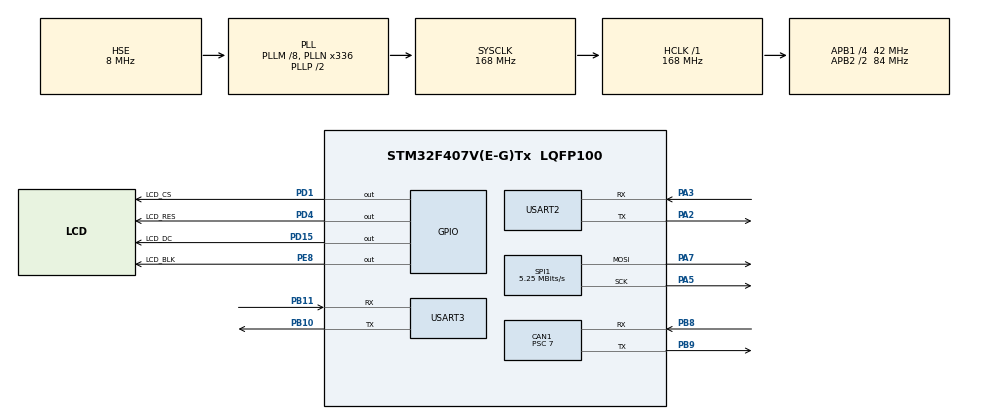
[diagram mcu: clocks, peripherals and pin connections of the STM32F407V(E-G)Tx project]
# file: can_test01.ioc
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CAN1.BS1=CAN_BS1_9TQ
CAN1.BS2=CAN_BS2_2TQ
CAN1.CalculateBaudRate=499999
CAN1.CalculateTimeBit=2000
CAN1.CalculateTimeQuantum=166.66666666666669
CAN1.Prescaler=7
Mcu.Family=STM32F4
Mcu.Name=STM32F407V(E-G)Tx
Mcu.Package=LQFP100
NVIC.CAN1_RX0_IRQn=true\:0\:0\:false\:false\:true\:true\:true\:true
NVIC.PriorityGroup=NVIC_PRIORITYGROUP_4
NVIC.USART3_IRQn=true\:0\:0\:false\:false\:true\:true\:true\:true
PA13.Mode=Serial_Wire
PA13.Signal=SYS_JTMS-SWDIO
PA14.Mode=Serial_Wire
PA14.Signal=SYS_JTCK-SWCLK
PA2.Mode=Asynchronous
PA2.Signal=USART2_TX
PA3.Mode=Asynchronous
PA3.Signal=USART2_RX
PA5.Mode=TX_Only_Simplex_Unidirect_Master
PA5.Signal=SPI1_SCK
PA7.Mode=TX_Only_Simplex_Unidirect_Master
PA7.Signal=SPI1_MOSI
PB10.Mode=Asynchronous
PB10.Signal=USART3_TX
PB11.Mode=Asynchronous
PB11.Signal=USART3_RX
PB8.Mode=CAN_Activate
PB8.Signal=CAN1_RX
PB9.Mode=CAN_Activate
PB9.Signal=CAN1_TX
PD1.GPIO_Label=LCD_CS
PD1.GPIO_ModeDefaultOutputPP=GPIO_MODE_OUTPUT_PP
PD1.GPIO_PuPd=GPIO_NOPULL
PD1.GPIO_Speed=GPIO_SPEED_FREQ_LOW
PD1.PinState=GPIO_PIN_SET
PD1.Signal=GPIO_Output
PD15.GPIO_Label=LCD_DC
PD15.GPIO_ModeDefaultOutputPP=GPIO_MODE_OUTPUT_PP
PD15.GPIO_PuPd=GPIO_NOPULL
PD15.GPIO_Speed=GPIO_SPEED_FREQ_LOW
PD15.PinState=GPIO_PIN_SET
PD15.Signal=GPIO_Output
PD4.GPIO_Label=LCD_RES
PD4.GPIO_ModeDefaultOutputPP=GPIO_MODE_OUTPUT_PP
PD4.GPIO_PuPd=GPIO_NOPULL
PD4.GPIO_Speed=GPIO_SPEED_FREQ_LOW
PD4.PinState=GPIO_PIN_SET
PD4.Signal=GPIO_Output
PE8.GPIO_Label=LCD_BLK
PE8.GPIO_ModeDefaultOutputPP=GPIO_MODE_OUTPUT_PP
PE8.GPIO_PuPd=GPIO_NOPULL
PE8.GPIO_Speed=GPIO_SPEED_FREQ_LOW
PE8.PinState=GPIO_PIN_RESET
PE8.Signal=GPIO_Output
PH0-OSC_IN.Mode=HSE-External-Oscillator
PH0-OSC_IN.Signal=RCC_OSC_IN
PH1-OSC_OUT.Mode=HSE-External-Oscillator
PH1-OSC_OUT.Signal=RCC_OSC_OUT
ProjectManager.HeapSize=0x200
ProjectManager.StackSize=0x400
ProjectManager.TargetToolchain=MDK-ARM V5.32
RCC.48MHZClocksFreq_Value=84000000
RCC.AHBFreq_Value=168000000
RCC.APB1CLKDivider=RCC_HCLK_DIV4
RCC.APB1Freq_Value=42000000
RCC.APB1TimFreq_Value=84000000
RCC.APB2CLKDivider=RCC_HCLK_DIV2
RCC.APB2Freq_Value=84000000
RCC.APB2TimFreq_Value=168000000
RCC.CortexFreq_Value=168000000
RCC.HCLKFreq_Value=168000000
RCC.HSE_VALUE=8000000
RCC.HSI_VALUE=16000000
RCC.LSE_VALUE=32768
RCC.PLLM=8
RCC.PLLN=336
RCC.PLLSourceVirtual=RCC_PLLSOURCE_HSE
RCC.SYSCLKFreq_VALUE=168000000
RCC.SYSCLKSource=RCC_SYSCLKSOURCE_PLLCLK
RCC.VCOOutputFreq_Value=336000000
SPI1.BaudRatePrescaler=SPI_BAUDRATEPRESCALER_16
SPI1.CLKPhase=SPI_PHASE_2EDGE
SPI1.CLKPolarity=SPI_POLARITY_HIGH
SPI1.CalculateBaudRate=5.25 MBits/s
SPI1.Direction=SPI_DIRECTION_2LINES
SPI1.Mode=SPI_MODE_MASTER
SPI1.VirtualType=VM_MASTER
USART2.VirtualMode=VM_ASYNC
USART3.VirtualMode=VM_ASYNC
board=custom

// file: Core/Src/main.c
/* USER CODE BEGIN Header */
/**
  ******************************************************************************
  * @file           : main.c
  * @project        : STM32F407VET6 汽车数字仪表 APP2 (黑猫警长主题 LVGL 8 座舱系统)
  * @brief          : APP2 向量表重映射、CAN 0x0B3 远程升级响应与 50FPS 座舱动画调度
  *
  * ================================================================
  * 【文件结构与核心机制】：
  *   1. 启动重映射 (0x08010000)：
  *      - 配合 Keil IROM1 起始地址 0x08010000 (大小 0x70000 = 448KB)
  *      - 入口第一句执行 SCB->VTOR = 0x08010000 并调用 __set_PRIMASK(0U) 重新开启总中断
  *   2. 双向 CAN OTA 升级闭环：
  *      - 实时监听 CAN ID 0x0B3 (BE AD BE EF 01 AA AA AA)
  *      - 收到后将 Sector 3 (0x0800C000) 的 ota_flag 置 1，立即调用 HAL_NVIC_SystemReset()
  *      - 重启进入 Bootloader 后即可无缝刷回 APP1 (APP_Car.bin) 或更新版本
  *   3. 车载数据联动与离线巡航演示：
  *      - 在线模式：收到 0x0B4 (0xAF 0x01 RPM Speed) 实时驱动黑猫警长仪表车速与转速
  *      - 离线模式：超过 1.2s 未收到 CAN 报文时自动切入三角波平滑演示动效
  * ================================================================
  ******************************************************************************
  */
/* USER CODE END Header */
#include "main.h"
#include "can.h"
#include "spi.h"
#include "usart.h"
#include "gpio.h"

/* USER CODE BEGIN Includes */
#include "headfile.h"
#include "inter_flashif.h"
#include "inter_flash_cfg.h"
#include "bsp_touch.h"
#include "bsp_lv_port_disp.h"
#include "bsp_lv_port_indev.h"
#include "blackcat_lvgl_ui.h"
#include <stdio.h>
#include <string.h>
/* USER CODE END Includes */

void SystemClock_Config(void);

int main(void)
{
  /* USER CODE BEGIN 1 */
  // ⚠️ 极其关键的手术：Bootloader 跳转前关闭了总中断 (__disable_irq)，
  //    因此 APP 入口必须第一时间重设中断向量表偏移 VTOR = 0x08010000 并开启总中断！
  SCB->VTOR = INTER_FLASH_APP_ADDR;
  __set_PRIMASK(0U);
  /* USER CODE END 1 */

  /* MCU Configuration--------------------------------------------------------*/

  /* Reset of all peripherals, Initializes the Flash interface and the Systick. */
  HAL_Init();

  /* Configure the system clock */
  SystemClock_Config();

  /* USER CODE BEGIN SysInit */
  __set_PRIMASK(0U);

  uint32_t rx_id = 0;
  uint32_t rx_len = 0;
  uint8_t rx_data[8] = {0};
  BlackCat_VehicleState v_state = {0};
  /* USER CODE END SysInit */

  /* Initialize all configured peripherals */
  MX_GPIO_Init();
  MX_CAN1_Init();
  MX_USART2_UART_Init();
  MX_SPI1_Init();
  MX_USART3_UART_Init();

  /* USER CODE BEGIN 2 */
  // ================================================================
  // 系统外设与 LVGL 黑猫警长座舱初始化流水线
  // ================================================================

  // ------- 1. 硬件屏幕 (ST7796 SPI1) 与底层接口初始化 -------
  LCD_Init();
  Touch_Init();

  // ------- 2. LVGL 8 图形系统与黑猫警长仪表盘页面初始化 -------
  lv_init();
  lv_port_disp_init();
  lv_port_indev_init();
  BlackCat_LVGL_Init();

  // ------- 3. 启动 CAN1 硬件滤波器与接收中断 -------
  can_filter_init();

  // ------- 4. 开启 USART3 备用升级命令监听 -------
  uart_receive_enable();

  printf("\r\n============================================================\r\n");
  printf("       F407 APP2: BLACK CAT DETECTIVE LVGL 8 COCKPIT        \r\n");
  printf("============================================================\r\n");
  printf("Firmware Version : V2.2.0 (Black Cat LVGL Edition)\r\n");
  printf("Vector Table     : 0x%08lX\r\n", (unsigned long)SCB->VTOR);
  printf("LVGL Version     : %d.%d.%d\r\n", LVGL_VERSION_MAJOR, LVGL_VERSION_MINOR, LVGL_VERSION_PATCH);
  printf("USART3 OTA Listen: AF LEN DATA... FA\r\n");
  printf("------------------------------------------------------------\r\n");

  if (inter_flash_cfg_init() != 0U)
  {
      printf("APP2: info.bin not found at 0x%08lX (using defaults)\r\n",
             (unsigned long)INTER_FLASH_PARAM_ADDR);
  }
  /* USER CODE END 2 */

  /* Infinite loop */
  /* USER CODE BEGIN WHILE */
  uint32_t rx_count = 0;
  uint32_t last_can_tick = 0U;
  uint32_t last_ui_tick = HAL_GetTick();
  uint32_t last_lvgl_tick = HAL_GetTick();

  while (1)
  {
      uint32_t now = HAL_GetTick();

      // ================================================================
      // 任务 1：CAN 报文非阻塞接收与协议分流 (0x0B3 升级唤醒 / 0x0B4 仪表数据)
      // ================================================================
      if (can_get_message(&rx_id, &rx_len, rx_data) == 0U)
      {
          // ---- ① 检测 CAN 0x0B3 远程 OTA 升级指令 (BE AD BE EF 01 AA AA AA) ----
          if ((rx_id == 0x0B3U) && (rx_len == 8U) &&
              (rx_data[0] == 0xBEU) && (rx_data[1] == 0xADU) &&
              (rx_data[2] == 0xBEU) && (rx_data[3] == 0xEFU) &&
              (rx_data[4] == 0x01U))
          {
              printf("APP2: CAN 0x0B3 OTA Triggered! Setting ota_flag=1 and resetting...\r\n");
              inter_flash_cfg_set_app_update_flag(1U);
              HAL_Delay(100);
              HAL_NVIC_SystemReset();
          }

          ++rx_count;
          last_can_tick = now;
          v_state.can_online = 1U;
          v_state.can_id = rx_id;
          v_state.rx_count = rx_count;
          v_state.dlc = (rx_len <= 8U) ? (uint8_t)rx_len : 8U;
          memcpy(v_state.data, rx_data, v_state.dlc);

          // ---- ② 解析 0x0B4 标准仪表数据帧 (0xAF + 0x01 + RPM + Speed) ----
          if ((rx_id == 0x0B4U) && (rx_data[0] == 0xAFU))
          {
              if (rx_data[1] == 0x01U)
              {
                  v_state.rpm = (uint16_t)rx_data[2] * 100U;
                  v_state.speed_kph = (uint16_t)rx_data[3];
                  if (v_state.rpm > 8000U) v_state.rpm = 8000U;
              }
          }
          else
          {
              uint16_t base_spd = (v_state.mode == BLACKCAT_MODE_PURSUIT) ? 120U : 45U;
              v_state.speed_kph = base_spd + (uint16_t)((rx_data[0] * 3U + rx_count) % 55U);
              v_state.rpm = (uint16_t)(900U + v_state.speed_kph * 38U);
              if (v_state.rpm > 8000U) v_state.rpm = 8000U;
          }

          printf("[CAN] ID=0x%03lX DLC=%lu RX=%lu\r\n",
                 (unsigned long)rx_id, (unsigned long)rx_len, (unsigned long)rx_count);
      }
      else if ((last_can_tick == 0U) || ((now - last_can_tick) > 1200U))
      {
          // ---- ③ 无 CAN 报文时的平滑自动巡航演示动效 ----
          v_state.can_online = 0U;
          uint16_t phase = (uint16_t)((now / 80U) % 240U);
          uint16_t wave = (phase <= 120U) ? phase : (uint16_t)(240U - phase);
          v_state.speed_kph = (v_state.mode == BLACKCAT_MODE_PURSUIT) ?
                              (uint16_t)(70U + wave / 2U) : (uint16_t)(25U + wave / 3U);
          v_state.rpm = (uint16_t)(900U + v_state.speed_kph * 38U);
      }

      // ================================================================
      // 任务 2：仪表盘业务动效定时更新 (20ms 周期 = 50 FPS)
      // ================================================================
      if ((now - last_ui_tick) >= 20U)
      {
          last_ui_tick = now;
          BlackCat_LVGL_Update(&v_state, now);
      }

      // ================================================================
      // 任务 3：LVGL 核心时间片引擎调度 (5ms 周期)
      // ================================================================
      if ((now - last_lvgl_tick) >= 5U)
      {
          last_lvgl_tick = now;
          lv_timer_handler();
      }

      // ================================================================
      // 任务 4：USART3 备用串口 OTA 协议检测与自动跳转
      // ================================================================
      if (uart_get_ota_flag() == 1U)
      {
          inter_flash_cfg_set_app_update_flag(1U);
          printf("APP2: OTA Triggered! Resetting to Bootloader...\r\n");
          HAL_Delay(100);
          HAL_NVIC_SystemReset();
      }
    /* USER CODE END WHILE */

  }
}

void SystemClock_Config(void)
{
  RCC_OscInitTypeDef RCC_OscInitStruct = {0};
  RCC_ClkInitTypeDef RCC_ClkInitStruct = {0};

  __HAL_RCC_PWR_CLK_ENABLE();
  __HAL_PWR_VOLTAGESCALING_CONFIG(PWR_REGULATOR_VOLTAGE_SCALE1);

  RCC_OscInitStruct.OscillatorType = RCC_OSCILLATORTYPE_HSE;
  RCC_OscInitStruct.HSEState = RCC_HSE_ON;
  RCC_OscInitStruct.PLL.PLLState = RCC_PLL_ON;
  RCC_OscInitStruct.PLL.PLLSource = RCC_PLLSOURCE_HSE;
  RCC_OscInitStruct.PLL.PLLM = 8;
  RCC_OscInitStruct.PLL.PLLN = 336;
  RCC_OscInitStruct.PLL.PLLP = RCC_PLLP_DIV2;
  RCC_OscInitStruct.PLL.PLLQ = 4;
  if (HAL_RCC_OscConfig(&RCC_OscInitStruct) != HAL_OK)
  {
    Error_Handler();
  }

  RCC_ClkInitStruct.ClockType = RCC_CLOCKTYPE_HCLK|RCC_CLOCKTYPE_SYSCLK
                              |RCC_CLOCKTYPE_PCLK1|RCC_CLOCKTYPE_PCLK2;
  RCC_ClkInitStruct.SYSCLKSource = RCC_SYSCLKSOURCE_PLLCLK;
  RCC_ClkInitStruct.AHBCLKDivider = RCC_SYSCLK_DIV1;
  RCC_ClkInitStruct.APB1CLKDivider = RCC_HCLK_DIV4;
  RCC_ClkInitStruct.APB2CLKDivider = RCC_HCLK_DIV2;

  if (HAL_RCC_ClockConfig(&RCC_ClkInitStruct, FLASH_LATENCY_5) != HAL_OK)
  {
    Error_Handler();
  }
}

/* USER CODE BEGIN 4 */
int fputc(int ch, FILE *f)
{
    HAL_UART_Transmit(&huart2, (uint8_t *)&ch, 1, 10);
    return ch;
}
/* USER CODE END 4 */

void Error_Handler(void)
{
  __disable_irq();
  while (1)
  {
  }
}
